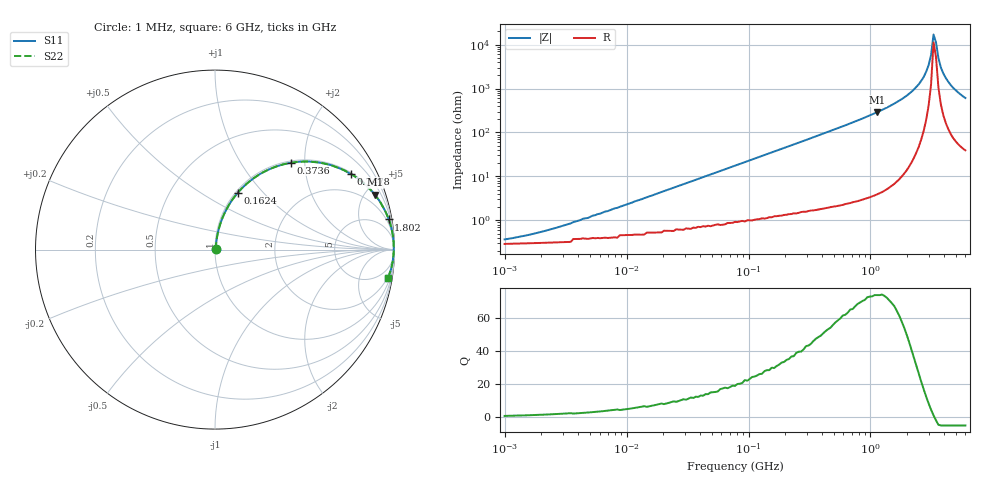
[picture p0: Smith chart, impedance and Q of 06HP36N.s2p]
# MHz S MA R 50
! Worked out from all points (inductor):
!   189 points, 1 MHz to 6 GHz, reference 50 ohm
!   read as one part in series: L = 36.2 nH near 5.29 MHz
!   highest Q = 74 at 1.134 GHz (marker M1), where L = 40.6 nH
!   self-resonance near 3.288 GHz
!   S11 on the Smith chart (normalised r, x): 1 MHz: 1.01, +0.00; 162.4 MHz: 1.02, +0.74; 373.6 MHz: 1.03, +1.71; 747.8 MHz: 1.06, +3.56; 1.802 GHz: 1, +11; 6 GHz: 2, -12
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1  0.003582 38.9  0.997 -0.1  0.997 -0.1  0.003582 38.9
2.097  0.005672 56.2  0.997 -0.3  0.997 -0.3  0.005672 56.2
4.396  0.011 69.2  0.996 -0.6  0.996 -0.6  0.011 69.2
18.454  0.042 80.3  0.994 -2.4  0.994 -2.4  0.042 80.3
77.46  0.171 77.2  0.976 -9.9  0.976 -9.9  0.171 77.2
162.413  0.342 68.1  0.928 -20.0  0.928 -20.0  0.342 68.1
340.538  0.608 51.3  0.781 -37.4  0.781 -37.4  0.608 51.3
373.558  0.644 48.8  0.752 -40.1  0.752 -40.1  0.644 48.8
747.836  0.866 29.1  0.487 -60.0  0.487 -60.0  0.866 29.1
1134.163  0.941 18.9  0.325 -70.3  0.325 -70.3  0.941 18.9
1429.415  0.966 14.1  0.244 -75.1  0.244 -75.1  0.966 14.1
1801.528  0.982 9.8  0.171 -79.2  0.171 -79.2  0.982 9.8
2270.512  0.992 6.0  0.104 -82.4  0.104 -82.4  0.992 6.0
2732.184  0.995 3.1  0.054 -83.5  0.054 -83.5  0.995 3.1
2997.112  0.996 1.7  0.029 -81.5  0.029 -81.5  0.996 1.7
3139.06  0.996 0.9  0.017 -76.7  0.017 -76.7  0.996 0.9
3287.73  0.996 0.3  0.00583 -48.4  0.00583 -48.4  0.996 0.3
3443.441  0.996 -0.4  0.008814 61.9  0.008814 61.9  0.996 -0.4
3606.527  0.995 -1.1  0.02 76.6  0.02 76.6  0.995 -1.1
3956.237  0.994 -2.5  0.045 81.0  0.045 81.0  0.994 -2.5
4760.675  0.989 -5.4  0.095 80.5  0.095 80.5  0.989 -5.4
6000  0.977 -9.2  0.16 77.1  0.16 77.1  0.977 -9.2
